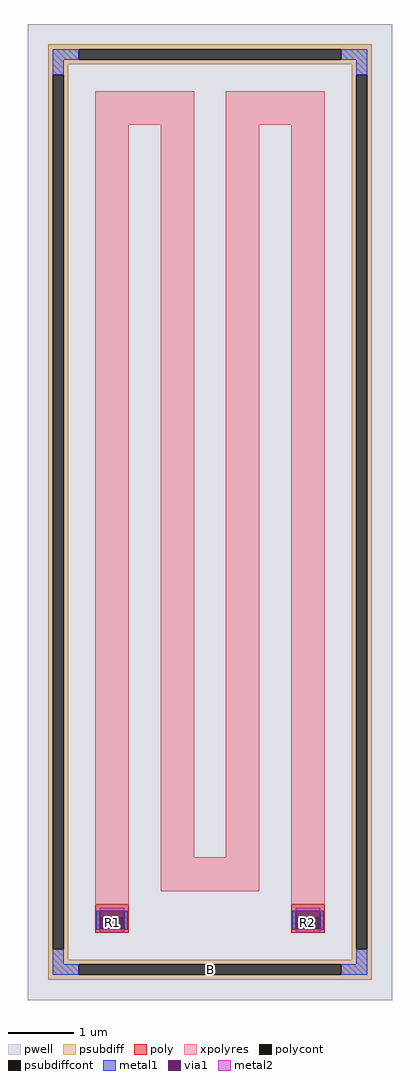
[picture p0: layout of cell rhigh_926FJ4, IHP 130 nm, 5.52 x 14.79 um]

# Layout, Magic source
magic
tech ihp-sg13g2
magscale 1 2
<< pwell >>
rect -552 -1479 552 1479
<< psubdiff >>
rect -490 1403 490 1417
rect -490 1371 -398 1403
rect 398 1371 490 1403
rect -490 1357 490 1371
rect -490 1325 -430 1357
rect -490 -1325 -476 1325
rect -444 -1325 -430 1325
rect 430 1325 490 1357
rect -490 -1357 -430 -1325
rect 430 -1325 444 1325
rect 476 -1325 490 1325
rect 430 -1357 490 -1325
rect -490 -1371 490 -1357
rect -490 -1403 -398 -1371
rect 398 -1403 490 -1371
rect -490 -1417 490 -1403
<< psubdiffcont >>
rect -398 1371 398 1403
rect -476 -1325 -444 1325
rect 444 -1325 476 1325
rect -398 -1403 398 -1371
<< poly >>
rect -348 -1229 -246 -1189
rect -348 -1261 -334 -1229
rect -260 -1261 -246 -1229
rect -348 -1275 -246 -1261
rect 246 -1229 348 -1189
rect 246 -1261 260 -1229
rect 334 -1261 348 -1229
rect 246 -1275 348 -1261
<< polycont >>
rect -334 -1261 -260 -1229
rect 260 -1261 334 -1229
<< xpolyres >>
rect -348 1173 -48 1275
rect -348 -1189 -246 1173
rect -150 -1047 -48 1173
rect 48 1173 348 1275
rect 48 -1047 150 1173
rect -150 -1149 150 -1047
rect 246 -1189 348 1173
<< metal1 >>
rect -476 1371 -398 1403
rect 398 1371 476 1403
rect -476 1325 -444 1371
rect 444 1325 476 1371
rect -344 -1209 -250 -1208
rect -344 -1265 -334 -1209
rect -260 -1265 -250 -1209
rect -344 -1266 -250 -1265
rect 250 -1209 344 -1208
rect 250 -1265 260 -1209
rect 334 -1265 344 -1209
rect 250 -1266 344 -1265
rect -476 -1371 -444 -1325
rect 444 -1371 476 -1325
rect -476 -1403 -398 -1371
rect 398 -1403 476 -1371
<< via1 >>
rect -334 -1229 -260 -1209
rect -334 -1261 -260 -1229
rect -334 -1265 -260 -1261
rect 260 -1229 334 -1209
rect 260 -1261 334 -1229
rect 260 -1265 334 -1261
<< metal2 >>
rect -334 -1209 -260 -1200
rect -334 -1274 -260 -1265
rect 260 -1209 334 -1200
rect 260 -1274 334 -1265
<< labels >>
rlabel psubdiffcont 0 -1387 0 -1387 0 B
port 1 nsew
rlabel polycont -297 -1245 -297 -1245 0 R1
port 2 nsew
rlabel polycont 297 -1245 297 -1245 0 R2
port 3 nsew
<< properties >>
string FIXED_BBOX -460 -1387 460 1387
string gencell rhigh
string library sg13g2
string parameters w 0.51 l 12.12 m 1 nx 4 wmin 0.50 lmin 0.50 class resistor rho 1360 val 133.36k dummy 0 dw 0.0 term 0.0 sterm 0.0 caplen 0 guard 1 glc 1 grc 1 gtc 1 gbc 1 snake 1 full_metal 1 n_guard 0 hv_guard 0 vias 1 viagb 0 viagt 0 viagl 0 viagr 0 doports 1
<< end >>
